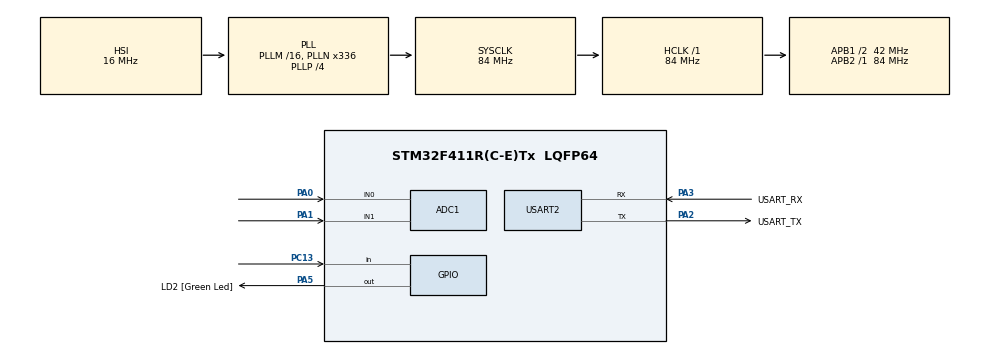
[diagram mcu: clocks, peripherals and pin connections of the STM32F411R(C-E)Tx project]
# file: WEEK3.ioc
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ADC1.Channel-0\#ChannelRegularConversion=ADC_CHANNEL_0
ADC1.NbrOfConversionFlag=1
ADC1.Rank-0\#ChannelRegularConversion=1
ADC1.SamplingTime-0\#ChannelRegularConversion=ADC_SAMPLETIME_3CYCLES
ADC1.master=1
Mcu.Family=STM32F4
Mcu.Name=STM32F411R(C-E)Tx
Mcu.Package=LQFP64
NVIC.PriorityGroup=NVIC_PRIORITYGROUP_0
PA0-WKUP.Signal=ADCx_IN0
PA1.Signal=ADCx_IN1
PA13.GPIO_Label=TMS
PA13.Mode=Serial_Wire
PA13.Signal=SYS_JTMS-SWDIO
PA14.GPIO_Label=TCK
PA14.Mode=Serial_Wire
PA14.Signal=SYS_JTCK-SWCLK
PA2.GPIO_Label=USART_TX
PA2.Mode=Asynchronous
PA2.Signal=USART2_TX
PA3.GPIO_Label=USART_RX
PA3.Mode=Asynchronous
PA3.Signal=USART2_RX
PA5.GPIO_Label=LD2 [Green Led]
PA5.Signal=GPIO_Output
PB3.GPIO_Label=SWO
PB3.Signal=SYS_JTDO-SWO
PC13-ANTI_TAMP.Signal=GPIO_Input
PC14-OSC32_IN.Mode=LSE-External-Oscillator
PC14-OSC32_IN.Signal=RCC_OSC32_IN
PC15-OSC32_OUT.Mode=LSE-External-Oscillator
PC15-OSC32_OUT.Signal=RCC_OSC32_OUT
PH0\ -\ OSC_IN.Mode=HSE-External-Clock-Source
PH0\ -\ OSC_IN.Signal=RCC_OSC_IN
PH1\ -\ OSC_OUT.Mode=HSE-External-Clock-Source
PH1\ -\ OSC_OUT.Signal=RCC_OSC_OUT
ProjectManager.HeapSize=0x200
ProjectManager.StackSize=0x400
ProjectManager.TargetToolchain=STM32CubeIDE
RCC.48MHZClocksFreq_Value=84000000
RCC.AHBFreq_Value=84000000
RCC.APB1CLKDivider=RCC_HCLK_DIV2
RCC.APB1Freq_Value=42000000
RCC.APB1TimFreq_Value=84000000
RCC.APB2Freq_Value=84000000
RCC.APB2TimFreq_Value=84000000
RCC.CortexFreq_Value=84000000
RCC.FLatency-AdvancedSettings=FLASH_LATENCY_2
RCC.HCLKFreq_Value=84000000
RCC.HSE_VALUE=8000000
RCC.HSI_VALUE=16000000
RCC.PLLN=336
RCC.PLLP=RCC_PLLP_DIV4
RCC.SYSCLKFreq_VALUE=84000000
RCC.SYSCLKSource=RCC_SYSCLKSOURCE_PLLCLK
RCC.VCOOutputFreq_Value=336000000
SH.ADCx_IN0.0=ADC1_IN0,IN0
SH.ADCx_IN1.0=ADC1_IN1,IN1
USART2.VirtualMode=VM_ASYNC
VP_ADC1_TempSens_Input.Mode=IN-TempSens
board=NUCLEO-F411RE

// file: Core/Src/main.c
/* USER CODE BEGIN Header */
/**
 ******************************************************************************
 * @file           : main.c
 * @brief          : Main program body
 ******************************************************************************
 * @attention
 *
 * <h2><center>&copy; Copyright (c) 2021 STMicroelectronics.
 * All rights reserved.</center></h2>
 *
 * This software component is licensed by ST under BSD 3-Clause license,
 * the "License"; You may not use this file except in compliance with the
 * License. You may obtain a copy of the License at:
 *                        opensource.org/licenses/BSD-3-Clause
 *
 ******************************************************************************
 */
/* USER CODE END Header */
#include "main.h"

ADC_HandleTypeDef hadc1;

UART_HandleTypeDef huart2;

/* USER CODE BEGIN PV */
GPIO_PinState Sblue[2];
float V25 = 0.76 ;
float Avg_Slope = 2.5/1000 ; //V
uint16_t BottonTimeStamp = 0;
uint16_t adcdata[2] = { 0 };
uint16_t ADCMode = 0;
float ADCOutputConverted = 0;
typedef struct {
	ADC_ChannelConfTypeDef Config;
	uint16_t data;
} ADCStructure;

ADCStructure ADCChannel[3] = { 0 };

/* USER CODE END PV */

void SystemClock_Config(void);
static void MX_GPIO_Init(void);
static void MX_USART2_UART_Init(void);
static void MX_ADC1_Init(void);
/* USER CODE BEGIN PFP */
void ADCPollingMethodInit();
void ADCPollingMethodUpdate();
/* USER CODE END PFP */

int main(void) {

	/* MCU Configuration--------------------------------------------------------*/

	/* Reset of all peripherals, Initializes the Flash interface and the Systick. */
	HAL_Init();

	/* Configure the system clock */
	SystemClock_Config();

	/* Initialize all configured peripherals */
	MX_GPIO_Init();
	MX_USART2_UART_Init();
	MX_ADC1_Init();
	/* USER CODE BEGIN 2 */
	ADCPollingMethodInit();

	/* USER CODE END 2 */

	/* Infinite loop */
	while (1) {

		/* USER CODE BEGIN 3 */
		ADCPollingMethodUpdate();
		if (HAL_GetTick() - BottonTimeStamp >= 100) {
			Sblue[0] = HAL_GPIO_ReadPin(GPIOC, GPIO_PIN_13);

			if (Sblue[1] == GPIO_PIN_SET && Sblue[0] == GPIO_PIN_RESET) {
				if (ADCMode == 1)
				{
					ADCMode = 0;
				}
				else
				{
					ADCMode = 1;
				}
			}
			if (ADCMode == 0) {
				ADCOutputConverted = ((ADCChannel[1].data)*3.3/4096)*1000;
			}
			if (ADCMode == 1) {
				ADCOutputConverted = ((((ADCChannel[2].data)*3.3/4096)-V25)/Avg_Slope)+25;
			}
			Sblue[1] = Sblue[0];
		}

	}
	/* USER CODE END 3 */
}

void SystemClock_Config(void) {
	RCC_OscInitTypeDef RCC_OscInitStruct = { 0 };
	RCC_ClkInitTypeDef RCC_ClkInitStruct = { 0 };

	/** Configure the main internal regulator output voltage
	 */
	__HAL_RCC_PWR_CLK_ENABLE();
	__HAL_PWR_VOLTAGESCALING_CONFIG(PWR_REGULATOR_VOLTAGE_SCALE1);
	/** Initializes the RCC Oscillators according to the specified parameters
	 * in the RCC_OscInitTypeDef structure.
	 */
	RCC_OscInitStruct.OscillatorType = RCC_OSCILLATORTYPE_HSI;
	RCC_OscInitStruct.HSIState = RCC_HSI_ON;
	RCC_OscInitStruct.HSICalibrationValue = RCC_HSICALIBRATION_DEFAULT;
	RCC_OscInitStruct.PLL.PLLState = RCC_PLL_ON;
	RCC_OscInitStruct.PLL.PLLSource = RCC_PLLSOURCE_HSI;
	RCC_OscInitStruct.PLL.PLLM = 16;
	RCC_OscInitStruct.PLL.PLLN = 336;
	RCC_OscInitStruct.PLL.PLLP = RCC_PLLP_DIV4;
	RCC_OscInitStruct.PLL.PLLQ = 4;
	if (HAL_RCC_OscConfig(&RCC_OscInitStruct) != HAL_OK) {
		Error_Handler();
	}
	/** Initializes the CPU, AHB and APB buses clocks
	 */
	RCC_ClkInitStruct.ClockType = RCC_CLOCKTYPE_HCLK | RCC_CLOCKTYPE_SYSCLK
			| RCC_CLOCKTYPE_PCLK1 | RCC_CLOCKTYPE_PCLK2;
	RCC_ClkInitStruct.SYSCLKSource = RCC_SYSCLKSOURCE_PLLCLK;
	RCC_ClkInitStruct.AHBCLKDivider = RCC_SYSCLK_DIV1;
	RCC_ClkInitStruct.APB1CLKDivider = RCC_HCLK_DIV2;
	RCC_ClkInitStruct.APB2CLKDivider = RCC_HCLK_DIV1;

	if (HAL_RCC_ClockConfig(&RCC_ClkInitStruct, FLASH_LATENCY_2) != HAL_OK) {
		Error_Handler();
	}
}

static void MX_ADC1_Init(void) {

	ADC_ChannelConfTypeDef sConfig = { 0 };

	/** Configure the global features of the ADC (Clock, Resolution, Data Alignment and number of conversion)
	 */
	hadc1.Instance = ADC1;
	hadc1.Init.ClockPrescaler = ADC_CLOCK_SYNC_PCLK_DIV4;
	hadc1.Init.Resolution = ADC_RESOLUTION_12B;
	hadc1.Init.ScanConvMode = DISABLE;
	hadc1.Init.ContinuousConvMode = DISABLE;
	hadc1.Init.DiscontinuousConvMode = DISABLE;
	hadc1.Init.ExternalTrigConvEdge = ADC_EXTERNALTRIGCONVEDGE_NONE;
	hadc1.Init.ExternalTrigConv = ADC_SOFTWARE_START;
	hadc1.Init.DataAlign = ADC_DATAALIGN_RIGHT;
	hadc1.Init.NbrOfConversion = 1;
	hadc1.Init.DMAContinuousRequests = DISABLE;
	hadc1.Init.EOCSelection = ADC_EOC_SINGLE_CONV;
	if (HAL_ADC_Init(&hadc1) != HAL_OK) {
		Error_Handler();
	}
	/** Configure for the selected ADC regular channel its corresponding rank in the sequencer and its sample time.
	 */
	sConfig.Channel = ADC_CHANNEL_0;
	sConfig.Rank = 1;
	sConfig.SamplingTime = ADC_SAMPLETIME_3CYCLES;
	if (HAL_ADC_ConfigChannel(&hadc1, &sConfig) != HAL_OK) {
		Error_Handler();
	}

}

static void MX_USART2_UART_Init(void) {

	huart2.Instance = USART2;
	huart2.Init.BaudRate = 115200;
	huart2.Init.WordLength = UART_WORDLENGTH_8B;
	huart2.Init.StopBits = UART_STOPBITS_1;
	huart2.Init.Parity = UART_PARITY_NONE;
	huart2.Init.Mode = UART_MODE_TX_RX;
	huart2.Init.HwFlowCtl = UART_HWCONTROL_NONE;
	huart2.Init.OverSampling = UART_OVERSAMPLING_16;
	if (HAL_UART_Init(&huart2) != HAL_OK) {
		Error_Handler();
	}

}

static void MX_GPIO_Init(void) {
	GPIO_InitTypeDef GPIO_InitStruct = { 0 };

	/* GPIO Ports Clock Enable */
	__HAL_RCC_GPIOC_CLK_ENABLE();
	__HAL_RCC_GPIOH_CLK_ENABLE();
	__HAL_RCC_GPIOA_CLK_ENABLE();
	__HAL_RCC_GPIOB_CLK_ENABLE();

	/*Configure GPIO pin Output Level */
	HAL_GPIO_WritePin(LD2_GPIO_Port, LD2_Pin, GPIO_PIN_RESET);

	/*Configure GPIO pin : PC13 */
	GPIO_InitStruct.Pin = GPIO_PIN_13;
	GPIO_InitStruct.Mode = GPIO_MODE_INPUT;
	GPIO_InitStruct.Pull = GPIO_NOPULL;
	HAL_GPIO_Init(GPIOC, &GPIO_InitStruct);

	/*Configure GPIO pin : LD2_Pin */
	GPIO_InitStruct.Pin = LD2_Pin;
	GPIO_InitStruct.Mode = GPIO_MODE_OUTPUT_PP;
	GPIO_InitStruct.Pull = GPIO_NOPULL;
	GPIO_InitStruct.Speed = GPIO_SPEED_FREQ_LOW;
	HAL_GPIO_Init(LD2_GPIO_Port, &GPIO_InitStruct);

}

/* USER CODE BEGIN 4 */
void ADCPollingMethodInit() {
	//config all ADC Channel
	ADCChannel[0].Config.Channel = ADC_CHANNEL_0;
	ADCChannel[0].Config.Rank = 1;
	ADCChannel[0].Config.SamplingTime = ADC_SAMPLETIME_3CYCLES;

	ADCChannel[1].Config.Channel = ADC_CHANNEL_1;
	ADCChannel[1].Config.Rank = 1;
	ADCChannel[1].Config.SamplingTime = ADC_SAMPLETIME_3CYCLES;

	ADCChannel[2].Config.Channel = ADC_CHANNEL_TEMPSENSOR;
	ADCChannel[2].Config.Rank = 1;
	ADCChannel[2].Config.SamplingTime = ADC_SAMPLETIME_3CYCLES;
}
//Polling Method
void ADCPollingMethodUpdate() {
	//Read all 3 Channel
	for (int i = 0; i < 3; i++) {
		HAL_ADC_ConfigChannel(&hadc1, &ADCChannel[i].Config);
		HAL_ADC_Start(&hadc1);
		if (HAL_ADC_PollForConversion(&hadc1, 10) == HAL_OK)
			;
		{
			ADCChannel[i].data = HAL_ADC_GetValue(&hadc1);
		}
		HAL_ADC_Stop(&hadc1);
	}
}
/* USER CODE END 4 */

void Error_Handler(void) {
	__disable_irq();
	while (1) {
	}
}

/************************ (C) COPYRIGHT STMicroelectronics *****END OF FILE****/
